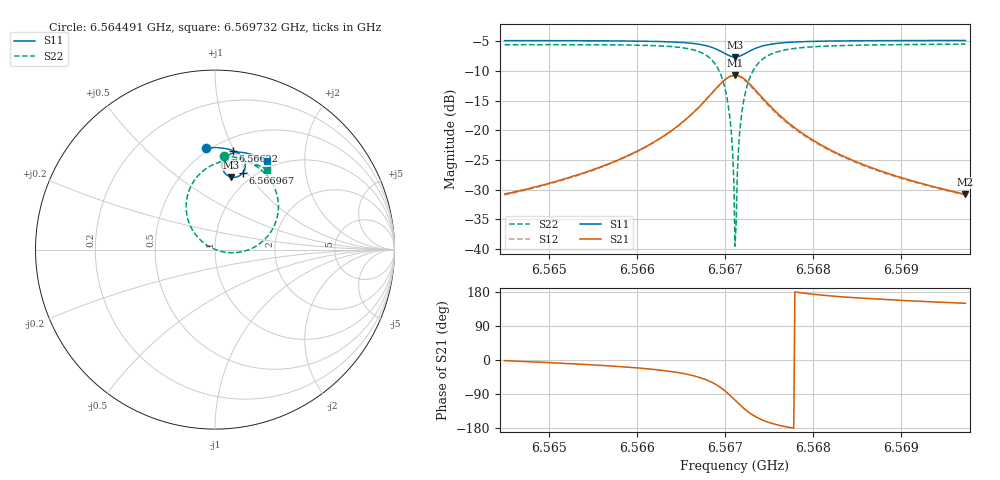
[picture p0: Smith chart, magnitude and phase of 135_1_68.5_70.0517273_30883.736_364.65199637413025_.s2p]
#  HZ  S  RI  R  50.00
! Rohde & Schwarz Vector Network Analyzer
! Rohde-Schwarz,ZNB20-2Port,1311601062101988,3.16
! Created: UTC 3/20/2024, 5:09:46 PM
! freq[Hz]  re:S11  im:S11  re:S21  im:S21  re:S12  im:S12  re:S22  im:S22
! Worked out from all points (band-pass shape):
!   401 points, 6.564491 GHz to 6.569732 GHz, reference 50 ohm
!   highest |S21| = -10.72 dB at 6.567111 GHz (marker M1); lowest = -30.8 dB at 6.569732 GHz (marker M2)
!   |S21| within 3 dB of the highest: 6.566851 GHz to 6.567374 GHz (523.5 kHz wide, 0.00797 % of centre)
!   lowest |S11| = -7.7 dB at 6.567111 GHz (marker M3), VSWR 2.41, Z = 41.8 + j40.8 ohm
!   |S11| at or under -10 dB: nowhere
!   |S22| runs from -39.5 to -5.5 dB; largest |S21 - S12| = 0.014
!   S11 on the Smith chart (normalised r, x): 6.564491 GHz: 0.47, +0.79; 6.56622 GHz: 0.62, +0.99; 6.566967 GHz: 0.88, +0.95; 6.569732 GHz: 0.91, +1.32
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6.5644907e9  -0.0527 0.5667  0.0291 -0.000825  0.0286 -0.00131  0.0476 0.5236
6.5653686e9  0.0199 0.5675  0.0426 -0.00849  0.0419 -0.00908  0.1321 0.5087
6.5662203e9  0.1009 0.551  0.0742 -0.0356  0.073 -0.0365  0.2482 0.4516
6.5662465e9  0.1037 0.5498  0.0758 -0.0376  0.0745 -0.0383  0.2529 0.4479
6.5665479e9  0.1392 0.5285  0.0983 -0.0734  0.0967 -0.0749  0.315 0.3772
6.5667576e9  0.1636 0.4946  0.1115 -0.1323  0.109 -0.1351  0.3524 0.2633
6.5668755e9  0.1681 0.461  0.1007 -0.1913  0.0958 -0.1949  0.3376 0.1514
6.5669672e9  0.1554 0.4281  0.0614 -0.2472  0.0526 -0.2504  0.266 0.0466
6.5670458e9  0.1253 0.4061  -0.00685 -0.2821  -0.0189 -0.2815  0.1403 -0.0136
6.5670721e9  0.1119 0.403  -0.0356 -0.2857  -0.0482 -0.283  0.0884 -0.0175
6.5670983e9  0.0977 0.4028  -0.0652 -0.2834  -0.0777 -0.2784  0.0358 -0.0104
6.5671114e9  0.0907 0.404  -0.0798 -0.28  -0.092 -0.2739  0.0102 -0.00292
6.5671245e9  0.0838 0.4058  -0.0941 -0.2752  -0.1059 -0.268  -0.0143 0.00742
6.5671376e9  0.0772 0.4086  -0.1078 -0.2691  -0.119 -0.2609  -0.0377 0.02
6.5671638e9  0.0653 0.416  -0.1325 -0.2532  -0.1422 -0.2433  -0.079 0.0513
6.56719e9  0.0555 0.4254  -0.1529 -0.2337  -0.1607 -0.2226  -0.1119 0.0885
6.5672424e9  0.0435 0.4477  -0.1795 -0.1892  -0.1836 -0.1773  -0.1512 0.1696
6.5673079e9  0.0411 0.4749  -0.1896 -0.1361  -0.1899 -0.1254  -0.1596 0.2633
6.5675569e9  0.0796 0.5298  -0.1453 -0.0284  -0.142 -0.0238  -0.0578 0.4453
6.5679893e9  0.1428 0.5422  -0.0829 0.00909  -0.0809 0.0102  0.0814 0.4979
6.5688672e9  0.226 0.5223  -0.0401 0.0154  -0.0393 0.0157  0.2121 0.4811
6.569732e9  0.2905 0.4914  -0.025 0.0147  -0.0245 0.0148  0.2895 0.4461
